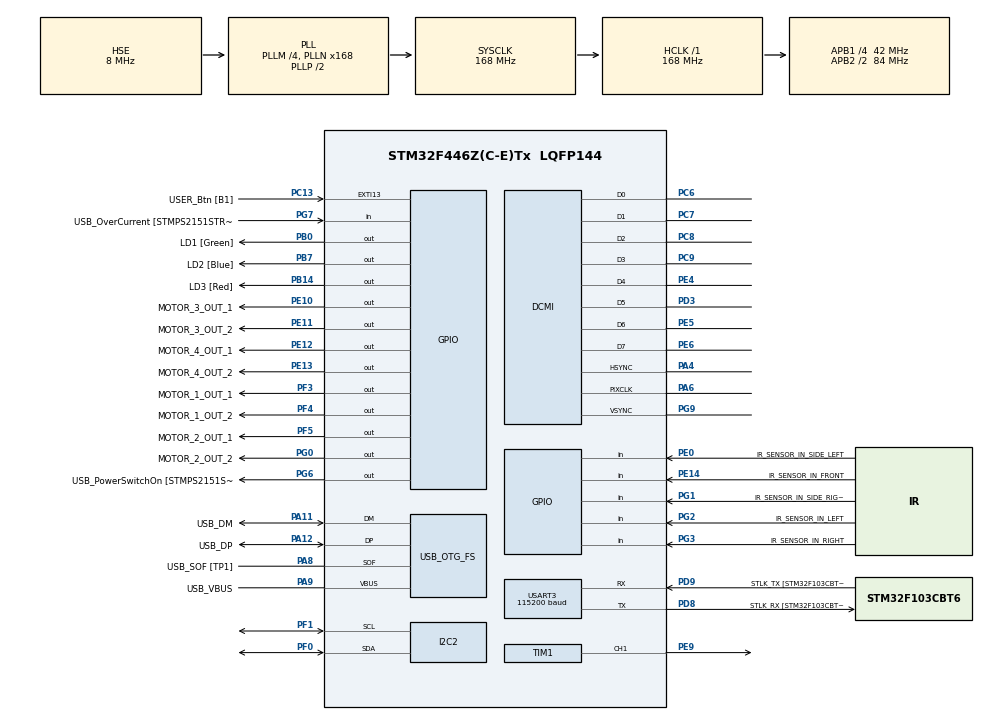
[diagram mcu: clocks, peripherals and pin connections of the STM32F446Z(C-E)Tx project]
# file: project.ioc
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DCMI.CaptureRate=DCMI_CR_ALL_FRAME
DCMI.PCKPolarity=DCMI_PCKPOLARITY_RISING
DCMI.VSPolarity=DCMI_VSPOLARITY_HIGH
Dma.DCMI.0.Direction=DMA_PERIPH_TO_MEMORY
Dma.DCMI.0.FIFOMode=DMA_FIFOMODE_ENABLE
Dma.DCMI.0.FIFOThreshold=DMA_FIFO_THRESHOLD_FULL
Dma.DCMI.0.Instance=DMA2_Stream1
Dma.DCMI.0.MemBurst=DMA_MBURST_SINGLE
Dma.DCMI.0.MemDataAlignment=DMA_MDATAALIGN_WORD
Dma.DCMI.0.MemInc=DMA_MINC_ENABLE
Dma.DCMI.0.Mode=DMA_CIRCULAR
Dma.DCMI.0.PeriphBurst=DMA_PBURST_SINGLE
Dma.DCMI.0.PeriphDataAlignment=DMA_PDATAALIGN_WORD
Dma.DCMI.0.PeriphInc=DMA_PINC_DISABLE
Dma.DCMI.0.Priority=DMA_PRIORITY_HIGH
Dma.Request0=DCMI
Dma.Request1=USART3_TX
Dma.USART3_TX.1.Direction=DMA_MEMORY_TO_PERIPH
Dma.USART3_TX.1.FIFOMode=DMA_FIFOMODE_ENABLE
Dma.USART3_TX.1.FIFOThreshold=DMA_FIFO_THRESHOLD_FULL
Dma.USART3_TX.1.Instance=DMA1_Stream3
Dma.USART3_TX.1.MemBurst=DMA_MBURST_SINGLE
Dma.USART3_TX.1.MemDataAlignment=DMA_MDATAALIGN_BYTE
Dma.USART3_TX.1.MemInc=DMA_MINC_ENABLE
Dma.USART3_TX.1.Mode=DMA_NORMAL
Dma.USART3_TX.1.PeriphBurst=DMA_PBURST_SINGLE
Dma.USART3_TX.1.PeriphDataAlignment=DMA_PDATAALIGN_BYTE
Dma.USART3_TX.1.PeriphInc=DMA_PINC_DISABLE
Dma.USART3_TX.1.Priority=DMA_PRIORITY_LOW
Mcu.Family=STM32F4
Mcu.Name=STM32F446Z(C-E)Tx
Mcu.Package=LQFP144
NVIC.DCMI_IRQn=true\:0\:0\:false\:false\:true\:true\:true\:true
NVIC.DMA1_Stream3_IRQn=true\:0\:0\:false\:false\:true\:false\:true\:true
NVIC.DMA2_Stream1_IRQn=true\:0\:0\:false\:false\:true\:false\:true\:true
NVIC.EXTI15_10_IRQn=true\:0\:0\:false\:false\:true\:true\:true\:true
NVIC.PriorityGroup=NVIC_PRIORITYGROUP_4
NVIC.TIM6_DAC_IRQn=true\:0\:0\:false\:false\:true\:true\:true\:true
NVIC.USART3_IRQn=true\:0\:0\:false\:false\:true\:true\:true\:true
PA10.GPIO_Label=USB_ID
PA10.Signal=USB_OTG_FS_ID
PA11.GPIO_Label=USB_DM
PA11.Mode=Device_Only
PA11.Signal=USB_OTG_FS_DM
PA12.GPIO_Label=USB_DP
PA12.Mode=Device_Only
PA12.Signal=USB_OTG_FS_DP
PA13.GPIO_Label=TMS
PA13.Mode=Serial_Wire
PA13.Signal=SYS_JTMS-SWDIO
PA14.GPIO_Label=TCK
PA14.Mode=Serial_Wire
PA14.Signal=SYS_JTCK-SWCLK
PA4.Mode=Slave_8_bits_External_Synchro
PA4.Signal=DCMI_HSYNC
PA6.Mode=Slave_8_bits_External_Synchro
PA6.Signal=DCMI_PIXCLK
PA8.GPIO_Label=USB_SOF [TP1]
PA8.Mode=Activate_SOF_FS
PA8.Signal=USB_OTG_FS_SOF
PA9.GPIO_Label=USB_VBUS
PA9.Mode=Activate_VBUS
PA9.Signal=USB_OTG_FS_VBUS
PB0.GPIO_Label=LD1 [Green]
PB0.Signal=GPIO_Output
PB14.GPIO_Label=LD3 [Red]
PB14.Signal=GPIO_Output
PB7.GPIO_Label=LD2 [Blue]
PB7.Signal=GPIO_Output
PC13.GPIO_Label=USER_Btn [B1]
PC13.Signal=GPXTI13
PC14-OSC32_IN.Mode=LSE-External-Oscillator
PC14-OSC32_IN.Signal=RCC_OSC32_IN
PC15-OSC32_OUT.Mode=LSE-External-Oscillator
PC15-OSC32_OUT.Signal=RCC_OSC32_OUT
PC6.Mode=Slave_8_bits_External_Synchro
PC6.Signal=DCMI_D0
PC7.Mode=Slave_8_bits_External_Synchro
PC7.Signal=DCMI_D1
PC8.Mode=Slave_8_bits_External_Synchro
PC8.Signal=DCMI_D2
PC9.Mode=Slave_8_bits_External_Synchro
PC9.Signal=DCMI_D3
PD3.Mode=Slave_8_bits_External_Synchro
PD3.Signal=DCMI_D5
PD8.GPIO_Label=STLK_RX [STM32F103CBT6_PA3]
PD8.Mode=Asynchronous
PD8.Signal=USART3_TX
PD9.GPIO_Label=STLK_TX [STM32F103CBT6_PA2]
PD9.Mode=Asynchronous
PD9.Signal=USART3_RX
PE0.GPIO_Label=IR_SENSOR_IN_SIDE_LEFT
PE0.Signal=GPIO_Input
PE10.GPIO_Label=MOTOR_3_OUT_1
PE10.GPIO_Speed=GPIO_SPEED_FREQ_VERY_HIGH
PE10.PinState=GPIO_PIN_SET
PE10.Signal=GPIO_Output
PE11.GPIO_Label=MOTOR_3_OUT_2
PE11.GPIO_Speed=GPIO_SPEED_FREQ_VERY_HIGH
PE11.PinState=GPIO_PIN_SET
PE11.Signal=GPIO_Output
PE12.GPIO_Label=MOTOR_4_OUT_1
PE12.GPIO_Speed=GPIO_SPEED_FREQ_VERY_HIGH
PE12.PinState=GPIO_PIN_SET
PE12.Signal=GPIO_Output
PE13.GPIO_Label=MOTOR_4_OUT_2
PE13.GPIO_Speed=GPIO_SPEED_FREQ_VERY_HIGH
PE13.PinState=GPIO_PIN_SET
PE13.Signal=GPIO_Output
PE14.GPIO_Label=IR_SENSOR_IN_FRONT
PE14.Signal=GPIO_Input
PE4.Mode=Slave_8_bits_External_Synchro
PE4.Signal=DCMI_D4
PE5.Mode=Slave_8_bits_External_Synchro
PE5.Signal=DCMI_D6
PE6.Mode=Slave_8_bits_External_Synchro
PE6.Signal=DCMI_D7
PE9.Signal=S_TIM1_CH1
PF0.Mode=I2C
PF0.Signal=I2C2_SDA
PF1.Mode=I2C
PF1.Signal=I2C2_SCL
PF3.GPIO_Label=MOTOR_1_OUT_1
PF3.GPIO_Speed=GPIO_SPEED_FREQ_VERY_HIGH
PF3.PinState=GPIO_PIN_SET
PF3.Signal=GPIO_Output
PF4.GPIO_Label=MOTOR_1_OUT_2
PF4.PinState=GPIO_PIN_SET
PF4.Signal=GPIO_Output
PF5.GPIO_Label=MOTOR_2_OUT_1
PF5.GPIO_Speed=GPIO_SPEED_FREQ_VERY_HIGH
PF5.PinState=GPIO_PIN_SET
PF5.Signal=GPIO_Output
PG0.GPIO_Label=MOTOR_2_OUT_2
PG0.GPIO_Speed=GPIO_SPEED_FREQ_VERY_HIGH
PG0.PinState=GPIO_PIN_SET
PG0.Signal=GPIO_Output
PG1.GPIO_Label=IR_SENSOR_IN_SIDE_RIGHT
PG1.Signal=GPIO_Input
PG2.GPIO_Label=IR_SENSOR_IN_LEFT
PG2.Signal=GPIO_Input
PG3.GPIO_Label=IR_SENSOR_IN_RIGHT
PG3.Signal=GPIO_Input
PG6.GPIO_Label=USB_PowerSwitchOn [STMPS2151STR_EN]
PG6.Signal=GPIO_Output
PG7.GPIO_Label=USB_OverCurrent [STMPS2151STR_FAULT]
PG7.Signal=GPIO_Input
PG9.Mode=Slave_8_bits_External_Synchro
PG9.Signal=DCMI_VSYNC
PH0-OSC_IN.GPIO_Label=MCO [STM32F103CBT6_PA8]
PH0-OSC_IN.Mode=HSE-External-Clock-Source
PH0-OSC_IN.Signal=RCC_OSC_IN
PH1-OSC_OUT.Mode=HSE-External-Clock-Source
PH1-OSC_OUT.Signal=RCC_OSC_OUT
ProjectManager.HeapSize=0x200
ProjectManager.StackSize=0x400
ProjectManager.TargetToolchain=STM32CubeIDE
RCC.48MHZClocksFreq_Value=24000000
RCC.AHBFreq_Value=168000000
RCC.APB1CLKDivider=RCC_HCLK_DIV4
RCC.APB1Freq_Value=42000000
RCC.APB1TimFreq_Value=84000000
RCC.APB2CLKDivider=RCC_HCLK_DIV2
RCC.APB2Freq_Value=84000000
RCC.APB2TimFreq_Value=168000000
RCC.CortexFreq_Value=168000000
RCC.HCLKFreq_Value=168000000
RCC.HSE_VALUE=8000000
RCC.HSI_VALUE=16000000
RCC.PLLM=4
RCC.PLLMUL=RCC_PLL_MUL9
RCC.PLLN=168
RCC.PLLQ=7
RCC.PRESCALERUSB=RCC_USBCLKSOURCE_PLL_DIV1_5
RCC.SYSCLKFreq_VALUE=168000000
RCC.SYSCLKSource=RCC_SYSCLKSOURCE_PLLCLK
RCC.SYSCLKSourceVirtual=RCC_SYSCLKSOURCE_PLLCLK
RCC.USBFreq_Value=48000000
RCC.VCOOutputFreq_Value=336000000
SH.S_TIM1_CH1.0=TIM1_CH1,PWM Generation1 CH1
TIM1.AutoReloadPreload=TIM_AUTORELOAD_PRELOAD_ENABLE
TIM1.Channel-PWM\ Generation1\ CH1=TIM_CHANNEL_1
TIM1.Period=20
TIM1.Pulse-PWM\ Generation1\ CH1=10
USART3.BaudRate=115200
USART3.Mode=MODE_TX_RX
USART3.VirtualMode=VM_ASYNC
USB_OTG_FS.VirtualMode=Device_Only
VP_TIM6_VS_ClockSourceINT.Mode=Enable_Timer
board=NUCLEO-F446ZE

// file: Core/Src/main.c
/* USER CODE BEGIN Header */
/**
  ******************************************************************************
  * @file           : main.c
  * @brief          : Main program body
  ******************************************************************************
  * @attention
  *
  * Copyright (c) 2024 STMicroelectronics.
  * All rights reserved.
  *
  * This software is licensed under terms that can be found in the LICENSE file
  * in the root directory of this software component.
  * If no LICENSE file comes with this software, it is provided AS-IS.
  *
  ******************************************************************************
  */
/* USER CODE END Header */
#include "main.h"

/* USER CODE BEGIN Includes */
#include "ov7670.h"
/* USER CODE END Includes */

/* USER CODE BEGIN PTD */
typedef enum
{
  OFF = 0,
  ON
}PIN_VALUE;
typedef enum
{
  NONE = 0,
  NORTH,
  NORTHWEST,
  NORTHEAST,
  EAST,
  WEST,
  SURROUNDLEFT,
  SURROUNDRIGHT,
  SURROUND
}OBSTACLE_LOCATION;
/* USER CODE END PTD */

/* USER CODE BEGIN PD */
#define PREAMBLE "\r\n!START!\r\n"
#define DELTA_PREAMBLE "\r\n!DELTA!\r\n"
#define SUFFIX "!END!\r\n"

#define SHORT_REVERSE 150
#define LONG_REVERSE 200
#define SHORT_TURN 150
#define QUARTER_TURN 200
#define HALF_TURN 500
#define TIME_THRESHOLD 400

/* USER CODE END PD */

/* USER CODE BEGIN PM */
struct SensorStatus {
	PIN_VALUE IR_Front;
	PIN_VALUE IR_Left;
	PIN_VALUE IR_Right;
	PIN_VALUE IR_Side_Left;
	PIN_VALUE IR_Side_Right;
};
/* USER CODE END PM */

DCMI_HandleTypeDef hdcmi;
DMA_HandleTypeDef hdma_dcmi;

I2C_HandleTypeDef hi2c2;

TIM_HandleTypeDef htim1;
TIM_HandleTypeDef htim6;

UART_HandleTypeDef huart3;
DMA_HandleTypeDef hdma_usart3_tx;

PCD_HandleTypeDef hpcd_USB_OTG_FS;

/* USER CODE BEGIN PV */
uint8_t raw_buff[2 * IMG_ROWS * IMG_COLS];
uint8_t intermediate_buff[IMG_ROWS][IMG_COLS];
uint8_t video_buff[sizeof(PREAMBLE) + IMG_ROWS * IMG_COLS + sizeof(SUFFIX)];
uint8_t dma_flag = 0;

uint8_t IR_SENSOR_LEFT_FLAG = 0;
uint8_t IR_SENSOR_FRONT_FLAG = 0;
uint8_t IR_SENSOR_RIGHT_FLAG = 0;

const uint8_t TURN_TIME = 100;
const uint8_t REVERSE_TIME = 100;
struct SensorStatus sensorStatus;
OBSTACLE_LOCATION currentObstacle = NONE;
OBSTACLE_LOCATION previousObstacle = NONE;
uint32_t currentObstacleTime = 0;
uint32_t previousObstacleTime = 0;
/* USER CODE END PV */

void SystemClock_Config(void);
static void MX_GPIO_Init(void);
static void MX_DMA_Init(void);
static void MX_DCMI_Init(void);
static void MX_USART3_UART_Init(void);
static void MX_USB_OTG_FS_PCD_Init(void);
static void MX_I2C2_Init(void);
static void MX_TIM1_Init(void);
static void MX_TIM6_Init(void);
/* USER CODE BEGIN PFP */
void extraTruncatedVideoMode();
uint8_t findNumberOfRepeatedPixels(uint8_t startRow, uint8_t startCol);
void transferRawBufferToIntermediate();
int rle(int bufferIndex);
void vehicleForward();
void vehicleForwardUntilUnClear();
void vehicleStop();
void vehicleReverse();
void vehicleReverseUntilClear();
void vehicleLeft();
void vehicleLeftUntilClear();
void vehicleRight();
void vehicleRightUntilClear();
//MOTOR HELPER
void motor1CW();
void motor1CCW();
void motor2CW();
void motor2CCW();
void motor3CW();
void motor3CCW();
void motor4CW();
void motor4CCW();
//Motor Pin Output
void writeMotor1Pin1(PIN_VALUE state);
void writeMotor1Pin2(PIN_VALUE state);
void writeMotor2Pin1(PIN_VALUE state);
void writeMotor2Pin2(PIN_VALUE state);
void writeMotor3Pin1(PIN_VALUE state);
void writeMotor3Pin2(PIN_VALUE state);
void writeMotor4Pin1(PIN_VALUE state);
void writeMotor4Pin2(PIN_VALUE state);
//Sensor Helper
void refreshSensorStatus();
int isLeftBlocked();
int isRightBlocked();
int isFrontBlocked();
int isSideLeftBlocked();
int isSideRightBlocked();
int canContinueForward();
//OBSTACLE HELPER
void findObstacle();
/* USER CODE END PFP */

int main(void)
{

  /* MCU Configuration--------------------------------------------------------*/

  /* Reset of all peripherals, Initializes the Flash interface and the Systick. */
  HAL_Init();

  /* Configure the system clock */
  SystemClock_Config();

  /* Initialize all configured peripherals */
  MX_GPIO_Init();
  MX_DMA_Init();
  MX_DCMI_Init();
  MX_USART3_UART_Init();
  MX_USB_OTG_FS_PCD_Init();
  MX_I2C2_Init();
  MX_TIM1_Init();
  MX_TIM6_Init();
  /* USER CODE BEGIN 2 */
  HAL_TIM_PWM_Start(&htim1, TIM_CHANNEL_1);
  ov7670_init();
  vehicleStop();
  /* USER CODE END 2 */

  /* Infinite loop */
  /* USER CODE BEGIN WHILE */
  while(!HAL_GPIO_ReadPin(USER_Btn_GPIO_Port, USER_Btn_Pin)) {
	  HAL_Delay(10);
  }

  while (1)
  {
    /* USER CODE END WHILE */

    /* USER CODE BEGIN 3 */
	  //Continue forward until obstacle detected
	  vehicleForwardUntilUnClear();

	  //***OBSTACLE DETECTED***//
	  currentObstacleTime = HAL_GetTick();
	  //Determine Location of obstacle
	  findObstacle();
	  previousObstacle = currentObstacle;

	  //Feedback loop escape
	  if (currentObstacleTime - previousObstacleTime <= TIME_THRESHOLD) {
		  vehicleReverse();
		  HAL_Delay(LONG_REVERSE);
		  vehicleStop();
		  if (HAL_GetTick() % 2 == 0) {
			  vehicleLeft();
		  } else {
			  vehicleRight();
		  }
		  HAL_Delay(HALF_TURN);
	  }
	  previousObstacleTime = currentObstacleTime;
	  //Navigate Obstacle
	  if (currentObstacle == NONE) { //Nothing detected
		  //do nothing
		  //Error_Handler();
	  } else if (currentObstacle == NORTH) {
		  vehicleReverse();
		  HAL_Delay(SHORT_REVERSE);
		  vehicleStop();
		  if (HAL_GetTick() % 2 == 0) {
			  vehicleLeft();
		  } else {
			  vehicleRight();
		  }
		  HAL_Delay(QUARTER_TURN);
	  } else if (currentObstacle == NORTHWEST) {
		  vehicleRightUntilClear();
	  } else if (currentObstacle == NORTHEAST) {
		  vehicleLeftUntilClear();
	  } else if (currentObstacle == WEST) {
		  vehicleReverse();
		  HAL_Delay(SHORT_REVERSE);
		  vehicleStop();

		  vehicleRight();
		  HAL_Delay(QUARTER_TURN);
	  } else if (currentObstacle == EAST) {
		  vehicleReverse();
		  HAL_Delay(SHORT_REVERSE);
		  vehicleStop();

		  vehicleLeft();
		  HAL_Delay(QUARTER_TURN);
	  } else if (currentObstacle == SURROUNDLEFT) {
		  vehicleReverseUntilClear();

		  vehicleRight();
		  HAL_Delay(QUARTER_TURN);
	  } else if (currentObstacle == SURROUNDRIGHT) {
		  vehicleReverseUntilClear();

		  vehicleLeft();
		  HAL_Delay(QUARTER_TURN);
	  } else if (currentObstacle == SURROUND) {
		  vehicleReverseUntilClear();

		  if (HAL_GetTick() % 2 == 0) {
			  vehicleLeft();
		  } else {
			  vehicleRight();
		  }
		  HAL_Delay(QUARTER_TURN);

	  }

	  //Small delay before continuing
	  vehicleStop();
	  HAL_Delay(500);
  }
  /* USER CODE END 3 */
}

void SystemClock_Config(void)
{
  RCC_OscInitTypeDef RCC_OscInitStruct = {0};
  RCC_ClkInitTypeDef RCC_ClkInitStruct = {0};

  /** Configure the main internal regulator output voltage
  */
  __HAL_RCC_PWR_CLK_ENABLE();
  __HAL_PWR_VOLTAGESCALING_CONFIG(PWR_REGULATOR_VOLTAGE_SCALE1);

  /** Initializes the RCC Oscillators according to the specified parameters
  * in the RCC_OscInitTypeDef structure.
  */
  RCC_OscInitStruct.OscillatorType = RCC_OSCILLATORTYPE_HSE;
  RCC_OscInitStruct.HSEState = RCC_HSE_BYPASS;
  RCC_OscInitStruct.PLL.PLLState = RCC_PLL_ON;
  RCC_OscInitStruct.PLL.PLLSource = RCC_PLLSOURCE_HSE;
  RCC_OscInitStruct.PLL.PLLM = 4;
  RCC_OscInitStruct.PLL.PLLN = 168;
  RCC_OscInitStruct.PLL.PLLP = RCC_PLLP_DIV2;
  RCC_OscInitStruct.PLL.PLLQ = 7;
  RCC_OscInitStruct.PLL.PLLR = 2;
  if (HAL_RCC_OscConfig(&RCC_OscInitStruct) != HAL_OK)
  {
    Error_Handler();
  }

  /** Initializes the CPU, AHB and APB buses clocks
  */
  RCC_ClkInitStruct.ClockType = RCC_CLOCKTYPE_HCLK|RCC_CLOCKTYPE_SYSCLK
                              |RCC_CLOCKTYPE_PCLK1|RCC_CLOCKTYPE_PCLK2;
  RCC_ClkInitStruct.SYSCLKSource = RCC_SYSCLKSOURCE_PLLCLK;
  RCC_ClkInitStruct.AHBCLKDivider = RCC_SYSCLK_DIV1;
  RCC_ClkInitStruct.APB1CLKDivider = RCC_HCLK_DIV4;
  RCC_ClkInitStruct.APB2CLKDivider = RCC_HCLK_DIV2;

  if (HAL_RCC_ClockConfig(&RCC_ClkInitStruct, FLASH_LATENCY_5) != HAL_OK)
  {
    Error_Handler();
  }
}

static void MX_DCMI_Init(void)
{

  hdcmi.Instance = DCMI;
  hdcmi.Init.SynchroMode = DCMI_SYNCHRO_HARDWARE;
  hdcmi.Init.PCKPolarity = DCMI_PCKPOLARITY_RISING;
  hdcmi.Init.VSPolarity = DCMI_VSPOLARITY_HIGH;
  hdcmi.Init.HSPolarity = DCMI_HSPOLARITY_LOW;
  hdcmi.Init.CaptureRate = DCMI_CR_ALL_FRAME;
  hdcmi.Init.ExtendedDataMode = DCMI_EXTEND_DATA_8B;
  hdcmi.Init.JPEGMode = DCMI_JPEG_DISABLE;
  hdcmi.Init.ByteSelectMode = DCMI_BSM_ALL;
  hdcmi.Init.ByteSelectStart = DCMI_OEBS_ODD;
  hdcmi.Init.LineSelectMode = DCMI_LSM_ALL;
  hdcmi.Init.LineSelectStart = DCMI_OELS_ODD;
  if (HAL_DCMI_Init(&hdcmi) != HAL_OK)
  {
    Error_Handler();
  }

}

static void MX_I2C2_Init(void)
{

  hi2c2.Instance = I2C2;
  hi2c2.Init.ClockSpeed = 100000;
  hi2c2.Init.DutyCycle = I2C_DUTYCYCLE_2;
  hi2c2.Init.OwnAddress1 = 0;
  hi2c2.Init.AddressingMode = I2C_ADDRESSINGMODE_7BIT;
  hi2c2.Init.DualAddressMode = I2C_DUALADDRESS_DISABLE;
  hi2c2.Init.OwnAddress2 = 0;
  hi2c2.Init.GeneralCallMode = I2C_GENERALCALL_DISABLE;
  hi2c2.Init.NoStretchMode = I2C_NOSTRETCH_DISABLE;
  if (HAL_I2C_Init(&hi2c2) != HAL_OK)
  {
    Error_Handler();
  }

}

static void MX_TIM1_Init(void)
{

  TIM_MasterConfigTypeDef sMasterConfig = {0};
  TIM_OC_InitTypeDef sConfigOC = {0};
  TIM_BreakDeadTimeConfigTypeDef sBreakDeadTimeConfig = {0};

  htim1.Instance = TIM1;
  htim1.Init.Prescaler = 0;
  htim1.Init.CounterMode = TIM_COUNTERMODE_UP;
  htim1.Init.Period = 20;
  htim1.Init.ClockDivision = TIM_CLOCKDIVISION_DIV1;
  htim1.Init.RepetitionCounter = 0;
  htim1.Init.AutoReloadPreload = TIM_AUTORELOAD_PRELOAD_ENABLE;
  if (HAL_TIM_PWM_Init(&htim1) != HAL_OK)
  {
    Error_Handler();
  }
  sMasterConfig.MasterOutputTrigger = TIM_TRGO_RESET;
  sMasterConfig.MasterSlaveMode = TIM_MASTERSLAVEMODE_DISABLE;
  if (HAL_TIMEx_MasterConfigSynchronization(&htim1, &sMasterConfig) != HAL_OK)
  {
    Error_Handler();
  }
  sConfigOC.OCMode = TIM_OCMODE_PWM1;
  sConfigOC.Pulse = 10;
  sConfigOC.OCPolarity = TIM_OCPOLARITY_HIGH;
  sConfigOC.OCNPolarity = TIM_OCNPOLARITY_HIGH;
  sConfigOC.OCFastMode = TIM_OCFAST_DISABLE;
  sConfigOC.OCIdleState = TIM_OCIDLESTATE_RESET;
  sConfigOC.OCNIdleState = TIM_OCNIDLESTATE_RESET;
  if (HAL_TIM_PWM_ConfigChannel(&htim1, &sConfigOC, TIM_CHANNEL_1) != HAL_OK)
  {
    Error_Handler();
  }
  sBreakDeadTimeConfig.OffStateRunMode = TIM_OSSR_DISABLE;
  sBreakDeadTimeConfig.OffStateIDLEMode = TIM_OSSI_DISABLE;
  sBreakDeadTimeConfig.LockLevel = TIM_LOCKLEVEL_OFF;
  sBreakDeadTimeConfig.DeadTime = 0;
  sBreakDeadTimeConfig.BreakState = TIM_BREAK_DISABLE;
  sBreakDeadTimeConfig.BreakPolarity = TIM_BREAKPOLARITY_HIGH;
  sBreakDeadTimeConfig.AutomaticOutput = TIM_AUTOMATICOUTPUT_DISABLE;
  if (HAL_TIMEx_ConfigBreakDeadTime(&htim1, &sBreakDeadTimeConfig) != HAL_OK)
  {
    Error_Handler();
  }
  HAL_TIM_MspPostInit(&htim1);

}

static void MX_TIM6_Init(void)
{

  TIM_MasterConfigTypeDef sMasterConfig = {0};

  htim6.Instance = TIM6;
  htim6.Init.Prescaler = 0;
  htim6.Init.CounterMode = TIM_COUNTERMODE_UP;
  htim6.Init.Period = 65535;
  htim6.Init.AutoReloadPreload = TIM_AUTORELOAD_PRELOAD_DISABLE;
  if (HAL_TIM_Base_Init(&htim6) != HAL_OK)
  {
    Error_Handler();
  }
  sMasterConfig.MasterOutputTrigger = TIM_TRGO_RESET;
  sMasterConfig.MasterSlaveMode = TIM_MASTERSLAVEMODE_DISABLE;
  if (HAL_TIMEx_MasterConfigSynchronization(&htim6, &sMasterConfig) != HAL_OK)
  {
    Error_Handler();
  }

}

static void MX_USART3_UART_Init(void)
{

  huart3.Instance = USART3;
  huart3.Init.BaudRate = 115200;
  huart3.Init.WordLength = UART_WORDLENGTH_8B;
  huart3.Init.StopBits = UART_STOPBITS_1;
  huart3.Init.Parity = UART_PARITY_NONE;
  huart3.Init.Mode = UART_MODE_TX_RX;
  huart3.Init.HwFlowCtl = UART_HWCONTROL_NONE;
  huart3.Init.OverSampling = UART_OVERSAMPLING_16;
  if (HAL_UART_Init(&huart3) != HAL_OK)
  {
    Error_Handler();
  }

}

static void MX_USB_OTG_FS_PCD_Init(void)
{

  hpcd_USB_OTG_FS.Instance = USB_OTG_FS;
  hpcd_USB_OTG_FS.Init.dev_endpoints = 6;
  hpcd_USB_OTG_FS.Init.speed = PCD_SPEED_FULL;
  hpcd_USB_OTG_FS.Init.dma_enable = DISABLE;
  hpcd_USB_OTG_FS.Init.phy_itface = PCD_PHY_EMBEDDED;
  hpcd_USB_OTG_FS.Init.Sof_enable = ENABLE;
  hpcd_USB_OTG_FS.Init.low_power_enable = DISABLE;
  hpcd_USB_OTG_FS.Init.lpm_enable = DISABLE;
  hpcd_USB_OTG_FS.Init.vbus_sensing_enable = ENABLE;
  hpcd_USB_OTG_FS.Init.use_dedicated_ep1 = DISABLE;
  if (HAL_PCD_Init(&hpcd_USB_OTG_FS) != HAL_OK)
  {
    Error_Handler();
  }

}

static void MX_DMA_Init(void)
{

  /* DMA controller clock enable */
  __HAL_RCC_DMA2_CLK_ENABLE();
  __HAL_RCC_DMA1_CLK_ENABLE();

  /* DMA interrupt init */
  /* DMA1_Stream3_IRQn interrupt configuration */
  HAL_NVIC_SetPriority(DMA1_Stream3_IRQn, 0, 0);
  HAL_NVIC_EnableIRQ(DMA1_Stream3_IRQn);
  /* DMA2_Stream1_IRQn interrupt configuration */
  HAL_NVIC_SetPriority(DMA2_Stream1_IRQn, 0, 0);
  HAL_NVIC_EnableIRQ(DMA2_Stream1_IRQn);

}

static void MX_GPIO_Init(void)
{
  GPIO_InitTypeDef GPIO_InitStruct = {0};

  /* GPIO Ports Clock Enable */
  __HAL_RCC_GPIOE_CLK_ENABLE();
  __HAL_RCC_GPIOC_CLK_ENABLE();
  __HAL_RCC_GPIOF_CLK_ENABLE();
  __HAL_RCC_GPIOH_CLK_ENABLE();
  __HAL_RCC_GPIOA_CLK_ENABLE();
  __HAL_RCC_GPIOB_CLK_ENABLE();
  __HAL_RCC_GPIOG_CLK_ENABLE();
  __HAL_RCC_GPIOD_CLK_ENABLE();

  /*Configure GPIO pin Output Level */
  HAL_GPIO_WritePin(GPIOF, MOTOR_1_OUT_1_Pin|MOTOR_1_OUT_2_Pin|MOTOR_2_OUT_1_Pin, GPIO_PIN_SET);

  /*Configure GPIO pin Output Level */
  HAL_GPIO_WritePin(GPIOB, LD1_Pin|LD3_Pin|LD2_Pin, GPIO_PIN_RESET);

  /*Configure GPIO pin Output Level */
  HAL_GPIO_WritePin(MOTOR_2_OUT_2_GPIO_Port, MOTOR_2_OUT_2_Pin, GPIO_PIN_SET);

  /*Configure GPIO pin Output Level */
  HAL_GPIO_WritePin(GPIOE, MOTOR_3_OUT_1_Pin|MOTOR_3_OUT_2_Pin|MOTOR_4_OUT_1_Pin|MOTOR_4_OUT_2_Pin, GPIO_PIN_SET);

  /*Configure GPIO pin Output Level */
  HAL_GPIO_WritePin(USB_PowerSwitchOn_GPIO_Port, USB_PowerSwitchOn_Pin, GPIO_PIN_RESET);

  /*Configure GPIO pin : USER_Btn_Pin */
  GPIO_InitStruct.Pin = USER_Btn_Pin;
  GPIO_InitStruct.Mode = GPIO_MODE_IT_RISING;
  GPIO_InitStruct.Pull = GPIO_NOPULL;
  HAL_GPIO_Init(USER_Btn_GPIO_Port, &GPIO_InitStruct);

  /*Configure GPIO pins : MOTOR_1_OUT_1_Pin MOTOR_2_OUT_1_Pin */
  GPIO_InitStruct.Pin = MOTOR_1_OUT_1_Pin|MOTOR_2_OUT_1_Pin;
  GPIO_InitStruct.Mode = GPIO_MODE_OUTPUT_PP;
  GPIO_InitStruct.Pull = GPIO_NOPULL;
  GPIO_InitStruct.Speed = GPIO_SPEED_FREQ_VERY_HIGH;
  HAL_GPIO_Init(GPIOF, &GPIO_InitStruct);

  /*Configure GPIO pin : MOTOR_1_OUT_2_Pin */
  GPIO_InitStruct.Pin = MOTOR_1_OUT_2_Pin;
  GPIO_InitStruct.Mode = GPIO_MODE_OUTPUT_PP;
  GPIO_InitStruct.Pull = GPIO_NOPULL;
  GPIO_InitStruct.Speed = GPIO_SPEED_FREQ_LOW;
  HAL_GPIO_Init(MOTOR_1_OUT_2_GPIO_Port, &GPIO_InitStruct);

  /*Configure GPIO pins : LD1_Pin LD3_Pin LD2_Pin */
  GPIO_InitStruct.Pin = LD1_Pin|LD3_Pin|LD2_Pin;
  GPIO_InitStruct.Mode = GPIO_MODE_OUTPUT_PP;
  GPIO_InitStruct.Pull = GPIO_NOPULL;
  GPIO_InitStruct.Speed = GPIO_SPEED_FREQ_LOW;
  HAL_GPIO_Init(GPIOB, &GPIO_InitStruct);

  /*Configure GPIO pin : MOTOR_2_OUT_2_Pin */
  GPIO_InitStruct.Pin = MOTOR_2_OUT_2_Pin;
  GPIO_InitStruct.Mode = GPIO_MODE_OUTPUT_PP;
  GPIO_InitStruct.Pull = GPIO_NOPULL;
  GPIO_InitStruct.Speed = GPIO_SPEED_FREQ_VERY_HIGH;
  HAL_GPIO_Init(MOTOR_2_OUT_2_GPIO_Port, &GPIO_InitStruct);

  /*Configure GPIO pins : IR_SENSOR_IN_SIDE_RIGHT_Pin IR_SENSOR_IN_LEFT_Pin IR_SENSOR_IN_RIGHT_Pin USB_OverCurrent_Pin */
  GPIO_InitStruct.Pin = IR_SENSOR_IN_SIDE_RIGHT_Pin|IR_SENSOR_IN_LEFT_Pin|IR_SENSOR_IN_RIGHT_Pin|USB_OverCurrent_Pin;
  GPIO_InitStruct.Mode = GPIO_MODE_INPUT;
  GPIO_InitStruct.Pull = GPIO_NOPULL;
  HAL_GPIO_Init(GPIOG, &GPIO_InitStruct);

  /*Configure GPIO pins : MOTOR_3_OUT_1_Pin MOTOR_3_OUT_2_Pin MOTOR_4_OUT_1_Pin MOTOR_4_OUT_2_Pin */
  GPIO_InitStruct.Pin = MOTOR_3_OUT_1_Pin|MOTOR_3_OUT_2_Pin|MOTOR_4_OUT_1_Pin|MOTOR_4_OUT_2_Pin;
  GPIO_InitStruct.Mode = GPIO_MODE_OUTPUT_PP;
  GPIO_InitStruct.Pull = GPIO_NOPULL;
  GPIO_InitStruct.Speed = GPIO_SPEED_FREQ_VERY_HIGH;
  HAL_GPIO_Init(GPIOE, &GPIO_InitStruct);

  /*Configure GPIO pins : IR_SENSOR_IN_FRONT_Pin IR_SENSOR_IN_SIDE_LEFT_Pin */
  GPIO_InitStruct.Pin = IR_SENSOR_IN_FRONT_Pin|IR_SENSOR_IN_SIDE_LEFT_Pin;
  GPIO_InitStruct.Mode = GPIO_MODE_INPUT;
  GPIO_InitStruct.Pull = GPIO_NOPULL;
  HAL_GPIO_Init(GPIOE, &GPIO_InitStruct);

  /*Configure GPIO pin : USB_PowerSwitchOn_Pin */
  GPIO_InitStruct.Pin = USB_PowerSwitchOn_Pin;
  GPIO_InitStruct.Mode = GPIO_MODE_OUTPUT_PP;
  GPIO_InitStruct.Pull = GPIO_NOPULL;
  GPIO_InitStruct.Speed = GPIO_SPEED_FREQ_LOW;
  HAL_GPIO_Init(USB_PowerSwitchOn_GPIO_Port, &GPIO_InitStruct);

  /* EXTI interrupt init*/
  HAL_NVIC_SetPriority(EXTI15_10_IRQn, 0, 0);
  HAL_NVIC_EnableIRQ(EXTI15_10_IRQn);

}

/* USER CODE BEGIN 4 */
//VEHICLE HELPER
void vehicleForward() {
	motor1CCW();
	motor3CCW();
	motor2CW();
	motor4CW();
}
void vehicleForwardUntilUnClear() {
	refreshSensorStatus();
	while(canContinueForward()) {
		vehicleForward();
		HAL_Delay(10);
		refreshSensorStatus();
	}
	vehicleStop();

}
void vehicleStop() {
	writeMotor1Pin1(OFF);
	writeMotor1Pin2(OFF);
	writeMotor2Pin1(OFF);
	writeMotor2Pin2(OFF);
	writeMotor3Pin1(OFF);
	writeMotor3Pin2(OFF);
	writeMotor4Pin1(OFF);
	writeMotor4Pin2(OFF);
}
void vehicleReverse() {
	motor1CW();
	motor3CW();
	motor2CCW();
	motor4CCW();
}
void vehicleLeft() {
	motor1CW();
	motor3CW();
	motor2CW();
	motor4CW();
}
void vehicleLeftUntilClear() {
	while(isRightBlocked()) {
		vehicleLeft();
		HAL_Delay(10);
		refreshSensorStatus();
	}
	vehicleStop();

}
void vehicleRight() {
	motor2CCW();
	motor4CCW();
	motor1CCW();
	motor3CCW();
}
void vehicleRightUntilClear() {
	while(isLeftBlocked()) {
		vehicleRight();
		HAL_Delay(10);
		refreshSensorStatus();
	}
	vehicleStop();

}
void vehicleReverseUntilClear() {
	while(!canContinueForward() && isSideRightBlocked() && isSideLeftBlocked()) {
		vehicleReverse();
		HAL_Delay(10);
		refreshSensorStatus();
	}
	vehicleStop();

}
//MOTOR HELPER
void motor1CW() {
	writeMotor1Pin1(ON);
	writeMotor1Pin2(OFF);
}
void motor1CCW() {
	writeMotor1Pin1(OFF);
	writeMotor1Pin2(ON);
}
void motor2CW() {
	writeMotor2Pin1(ON);
	writeMotor2Pin2(OFF);
}
void motor2CCW() {
	writeMotor2Pin1(OFF);
	writeMotor2Pin2(ON);
}
void motor3CW() {
	writeMotor3Pin1(ON);
	writeMotor3Pin2(OFF);
}
void motor3CCW() {
	writeMotor3Pin1(OFF);
	writeMotor3Pin2(ON);
}
void motor4CW() {
	writeMotor4Pin1(ON);
	writeMotor4Pin2(OFF);
}
void motor4CCW() {
	writeMotor4Pin1(OFF);
	writeMotor4Pin2(ON);
}
//Motor Pin Output
void writeMotor1Pin1(PIN_VALUE state) {
	HAL_GPIO_WritePin(GPIOF, MOTOR_1_OUT_1_Pin, state);
}
void writeMotor1Pin2(PIN_VALUE state) {
	HAL_GPIO_WritePin(GPIOF, MOTOR_1_OUT_2_Pin, state);
}
void writeMotor2Pin1(PIN_VALUE state) {
	HAL_GPIO_WritePin(GPIOF, MOTOR_2_OUT_1_Pin, state);
}
void writeMotor2Pin2(PIN_VALUE state) {
	HAL_GPIO_WritePin(MOTOR_2_OUT_2_GPIO_Port, MOTOR_2_OUT_2_Pin, state);
}
void writeMotor3Pin1(PIN_VALUE state) {
	HAL_GPIO_WritePin(GPIOE, MOTOR_3_OUT_1_Pin, state);
}
void writeMotor3Pin2(PIN_VALUE state) {
		HAL_GPIO_WritePin(GPIOE, MOTOR_3_OUT_2_Pin, state);
}
void writeMotor4Pin1(PIN_VALUE state) {
	HAL_GPIO_WritePin(GPIOE, MOTOR_4_OUT_1_Pin, state);
}
void writeMotor4Pin2(PIN_VALUE state) {
	HAL_GPIO_WritePin(GPIOE, MOTOR_4_OUT_2_Pin, state);
}
//Sensor Helper
void refreshSensorStatus() {
	sensorStatus.IR_Left = !HAL_GPIO_ReadPin(IR_SENSOR_IN_LEFT_GPIO_Port, IR_SENSOR_IN_LEFT_Pin);
	sensorStatus.IR_Right = !HAL_GPIO_ReadPin(IR_SENSOR_IN_RIGHT_GPIO_Port, IR_SENSOR_IN_RIGHT_Pin);
	sensorStatus.IR_Front = !HAL_GPIO_ReadPin(IR_SENSOR_IN_FRONT_GPIO_Port, IR_SENSOR_IN_FRONT_Pin);
	sensorStatus.IR_Side_Left = !HAL_GPIO_ReadPin(IR_SENSOR_IN_SIDE_LEFT_GPIO_Port, IR_SENSOR_IN_SIDE_LEFT_Pin);
	sensorStatus.IR_Side_Right = !HAL_GPIO_ReadPin(IR_SENSOR_IN_SIDE_RIGHT_GPIO_Port, IR_SENSOR_IN_SIDE_RIGHT_Pin);
}
int isLeftBlocked() {
	return sensorStatus.IR_Left;
}
int isRightBlocked() {
	return sensorStatus.IR_Right;
}
int isFrontBlocked() {
	return sensorStatus.IR_Front;
}
int isSideLeftBlocked() {
	return sensorStatus.IR_Side_Left;
}
int isSideRightBlocked() {
	return sensorStatus.IR_Side_Right;
}
int canContinueForward() {
	return !(isRightBlocked() || isLeftBlocked() || isFrontBlocked());
}
//OBSTACLE HELPER
void findObstacle() {
	refreshSensorStatus();

	//Check Front (north)
	if ((isFrontBlocked() && !isRightBlocked() && !isLeftBlocked()) || (isFrontBlocked() && isRightBlocked() && isLeftBlocked()) || (!isFrontBlocked() && isRightBlocked() && isLeftBlocked())) {
		//Check sides
		if (!isSideRightBlocked() && !isSideLeftBlocked()) { //Obstacle is directly in front
			currentObstacle = NORTH;
			return;
		}
		if (isSideRightBlocked() && isSideLeftBlocked()) { //Obstacle completely surrounded
			currentObstacle = SURROUND;
			return;
		}
		if (!isSideRightBlocked() && isSideLeftBlocked()) { //Obstacle in front and left
			if (previousObstacle == SURROUNDRIGHT) {
				currentObstacle = SURROUND;
			} else {
				currentObstacle = SURROUNDLEFT;
			}
			return;
		}
		if (isSideRightBlocked() && !isSideLeftBlocked()) { //Obstacle in front and right
			if (previousObstacle == SURROUNDLEFT) {
				currentObstacle = SURROUND;
			} else {
				currentObstacle = SURROUNDRIGHT;
			}
			return;
		}
	}
	//Check right (east)
	if ((isFrontBlocked() && isRightBlocked() && !isLeftBlocked()) || (!isFrontBlocked() && isRightBlocked() && !isLeftBlocked())) {
		//Check sides
		if (!isSideRightBlocked() && !isSideLeftBlocked()) { //Obstacle right in front slightly to the right
			currentObstacle = NORTHEAST;
			return;
		}
		if (isSideRightBlocked() && isSideLeftBlocked()) { //Obstacle completely surrounds
			currentObstacle = SURROUND;
			return;
		}
		if (!isSideRightBlocked() && isSideLeftBlocked()) { //Obstacle weirdly surrounds
			currentObstacle = SURROUND;
			return;
		}
		if (isSideRightBlocked() && !isSideLeftBlocked()) { //Obstacle in front and right
			currentObstacle = EAST;
			return;
		}
	}
	//Check left (west)
	if ((isFrontBlocked() && !isRightBlocked() && isLeftBlocked()) || (!isFrontBlocked() && !isRightBlocked() && isLeftBlocked())) {
		//Check sides
		if (!isSideRightBlocked() && !isSideLeftBlocked()) { //Obstacle right in front and slightly to the left
			currentObstacle = NORTHWEST;
			return;
		}
		if (isSideRightBlocked() && isSideLeftBlocked()) { //Obstacle completely surrounds
			currentObstacle = SURROUND;
			return;
		}
		if (!isSideRightBlocked() && isSideLeftBlocked()) { //Obstacle in front and left
			currentObstacle = WEST;
			return;
		}
		if (isSideRightBlocked() && !isSideLeftBlocked()) { //Obstacle weirdly surrounds
			currentObstacle = SURROUND;
			return;
		}
	}
	currentObstacle = NONE;
}
//CAMERA HELPER
void extraTruncatedVideoMode() {
	int bufferIndex= 0;
	for (int index = 0; index < sizeof(PREAMBLE); index++) {
		video_buff[bufferIndex++] = PREAMBLE[index];
	}

	//Loop forever
	while(1) {
		//Reset
		dma_flag = 0;
		ov7670_capture(raw_buff);

		//Wait for capture to finish
		while (!dma_flag) {
			HAL_Delay(0);
		}

		//Extract grey scale
		transferRawBufferToIntermediate();

		//RLE and place between pre-amble and suffix
		bufferIndex = rle(sizeof(PREAMBLE));

		//Append suffix
		for (int index = 0; index < sizeof(SUFFIX); index++) {
			video_buff[bufferIndex] = SUFFIX[index];
			bufferIndex++;
		}

		//Export Data
		if (HAL_UART_GetState(&huart3) == HAL_UART_STATE_READY) {
			HAL_UART_Transmit_DMA(&huart3, (uint8_t *)video_buff, bufferIndex);
		}

	}

}
//Extracts grey-scale data from the raw buffer to the intermediate buffer and formats it in a 2D array
void transferRawBufferToIntermediate() {
	int rowIndex = 0;
	int colIndex = 0;
	for (int rawIndex = 1; rawIndex < 2*IMG_ROWS*IMG_COLS; rawIndex++) {
		if (rawIndex % 2 != 0) {
			intermediate_buff[rowIndex][colIndex++] = raw_buff[rawIndex] & 0xF0;
			if (colIndex == IMG_COLS) {
				rowIndex++;
				colIndex = 0;
			}
		}
	}
}
//Returns the number of pixels that are consecutive, beginning search at [startRow, startCol]
uint8_t findNumberOfRepeatedPixels(uint8_t startRow, uint8_t startCol) {
	uint8_t count = 0;
	uint8_t prevColour = intermediate_buff[startRow][startCol];
	for (int columnIndex = startCol; columnIndex < IMG_COLS && count < 15; columnIndex++) {
		if (intermediate_buff[startRow][columnIndex] == prevColour) {
			count++;
		} else {
			break;
		}
	}
	return count;
}
//Compresses contents of intermediate buff using RLE and places data in the output buffer beginning at bufferIndex
int rle(int bufferIndex) {
	for (int rowIndex = 0; rowIndex < IMG_ROWS; rowIndex++) {
		for (int colIndex = 0; colIndex < IMG_COLS;) {
			uint8_t repetitions = findNumberOfRepeatedPixels(rowIndex, colIndex);

			video_buff[bufferIndex++] = intermediate_buff[rowIndex][colIndex] | (repetitions & 0xF);

			colIndex += repetitions;
		}
	}
	return bufferIndex;
}
/* USER CODE END 4 */

void Error_Handler(void)
{
  /* USER CODE BEGIN Error_Handler_Debug */
  /* User can add his own implementation to report the HAL error return state */
  __disable_irq();
  HAL_GPIO_TogglePin(LD2_GPIO_Port, LD2_Pin);
  while (1)
  {
  }
  /* USER CODE END Error_Handler_Debug */
}
